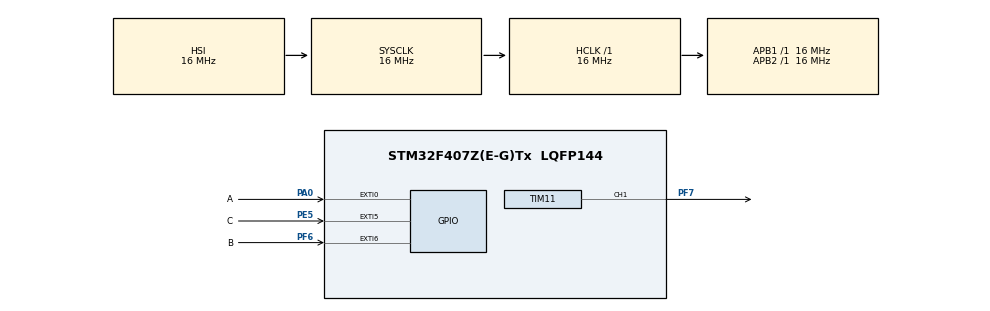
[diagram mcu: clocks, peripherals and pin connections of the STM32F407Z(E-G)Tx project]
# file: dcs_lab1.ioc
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Mcu.Family=STM32F4
Mcu.Name=STM32F407Z(E-G)Tx
Mcu.Package=LQFP144
NVIC.EXTI0_IRQn=true\:0\:0\:false\:false\:true\:true\:true\:true
NVIC.EXTI9_5_IRQn=true\:0\:0\:false\:false\:true\:true\:true\:true
NVIC.PriorityGroup=NVIC_PRIORITYGROUP_4
NVIC.TIM6_DAC_IRQn=true\:0\:0\:false\:false\:true\:true\:true\:true
NVIC.TIM7_IRQn=true\:0\:0\:false\:false\:true\:true\:true\:true
PA0-WKUP.GPIO_Label=A
PA0-WKUP.Signal=GPXTI0
PE5.GPIO_Label=C
PE5.Signal=GPXTI5
PF6.GPIO_Label=B
PF6.Signal=GPXTI6
PF7.Signal=S_TIM11_CH1
ProjectManager.HeapSize=0x200
ProjectManager.StackSize=0x400
ProjectManager.TargetToolchain=STM32CubeIDE
RCC.AHBFreq_Value=16000000
RCC.APB1Freq_Value=16000000
RCC.APB2Freq_Value=16000000
RCC.CortexFreq_Value=16000000
RCC.HSE_VALUE=25000000
RCC.HSI_VALUE=16000000
RCC.LSE_VALUE=32768
RCC.SYSCLKFreq_VALUE=16000000
RCC.VCOOutputFreq_Value=192000000
SH.S_TIM11_CH1.0=TIM11_CH1,PWM Generation1 CH1
TIM11.AutoReloadPreload=TIM_AUTORELOAD_PRELOAD_ENABLE
TIM11.Channel=TIM_CHANNEL_1
TIM11.Period=1059
TIM11.Prescaler=0
TIM6.Period=3999
TIM6.Prescaler=39
TIM6.TIM_MasterOutputTrigger=TIM_TRGO_UPDATE
TIM7.Period=15999
TIM7.Prescaler=99
VP_TIM11_VS_ClockSourceINT.Mode=Enable_Timer
VP_TIM6_VS_ClockSourceINT.Mode=Enable_Timer
VP_TIM7_VS_ClockSourceINT.Mode=Enable_Timer
board=custom

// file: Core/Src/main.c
/* USER CODE BEGIN Header */
/**
  ******************************************************************************
  * @file           : main.c
  * @brief          : Main program body
  ******************************************************************************
  * @attention
  *
  * Copyright (c) 2024 STMicroelectronics.
  * All rights reserved.
  *
  * This software is licensed under terms that can be found in the LICENSE file
  * in the root directory of this software component.
  * If no LICENSE file comes with this software, it is provided AS-IS.
  *
  ******************************************************************************
  */
/* USER CODE END Header */
#include "main.h"
#include "tim.h"
#include "gpio.h"

void SystemClock_Config(void);

/* USER CODE BEGIN 0 */
uint16_t counter = 0;
uint16_t counter_time = 0;
uint16_t counter_db = 0;
uint16_t v_db = 0;
uint16_t ccr_db = 0;
uint16_t speed=0;
uint16_t ccr_f = 0;
float kp=0;
int pre=0;
int ar=0;
int ta=0;
typedef enum{
	INIT = 0,
	IDLE,
	DB,
	DEL,
	K,
	END,
	T0,
	T
}
lock_state_t;
lock_state_t state = INIT;

typedef enum{
	OK = 0,
	ERR
} result_t;

result_t init(void)
{
	return OK;
}

result_t idle(void)
{
	return OK;
}

result_t db(void)
{
	if(counter_time == 0)
	{
		TIM11->CCR1 = TIM11->CCR1 + 100;
		return ERR;
	}
	else
	{
		ccr_db = TIM11->CCR1;
		v_db = counter_time;
		return OK;
	}
}

result_t del(void)
{
	return OK;
}

result_t k(void)
{
	return OK;
}
result_t t0(void)
{
	return OK;
}
result_t t(void)
{
	return OK;
}

int dir = 0;
/* USER CODE END 0 */

int main(void)
{

  /* MCU Configuration--------------------------------------------------------*/

  /* Reset of all peripherals, Initializes the Flash interface and the Systick. */
  HAL_Init();

  /* Configure the system clock */
  SystemClock_Config();

  /* Initialize all configured peripherals */
  MX_GPIO_Init();
  MX_TIM6_Init();
  MX_TIM11_Init();
  MX_TIM7_Init();
  /* USER CODE BEGIN 2 */
  HAL_TIM_Base_Start_IT(&htim6);
  HAL_TIM_PWM_Start(&htim11,TIM_CHANNEL_1);
  TIM11->CCR1 = 10;

  HAL_TIM_Base_Start_IT(&htim7);
  /* USER CODE END 2 */

  /* Infinite loop */
  while (1)
  {

    /* USER CODE BEGIN 3 */
	  switch(state)
	 	  {
	 	  	  case INIT:
	 	  		  if(init() == OK)
	 	  		  {
	 	  			  state = IDLE;
	 	  		  }
	 	  		  break;
	 	  	  case IDLE:
	 	  		  if(idle() == OK)
	 	  		  {
	 	  			  state = DB;
	 	  		  }
	 	  		  break;
	 	  	  case DB:
	 	  		  break;
	 	  	  case DEL:
	 	  		TIM11->CCR1 = TIM11->CCR1 + 50;
	 	  		  	HAL_Delay(3000);
	 	  			TIM11->CCR1 = TIM11->CCR1 + 250;
	 	  			state = K;
	 	  		  break;
	 	  	  case K:
	 	  		  break;
	 	  	  case T0:
	 	  		  TIM11->CCR1 = ccr_db;
	 	  		  HAL_Delay(3000);
	 	  		  TIM11->CCR1 = ccr_f;
	 	  		  state = T;
	 	  		  break;
	 	  	  case T:
	 	  		  break;
	 	  	  case END:

	 	  		  break;

	 	  }
  }
  /* USER CODE END 3 */
}

void SystemClock_Config(void)
{
  RCC_OscInitTypeDef RCC_OscInitStruct = {0};
  RCC_ClkInitTypeDef RCC_ClkInitStruct = {0};

  /** Configure the main internal regulator output voltage
  */
  __HAL_RCC_PWR_CLK_ENABLE();
  __HAL_PWR_VOLTAGESCALING_CONFIG(PWR_REGULATOR_VOLTAGE_SCALE1);

  /** Initializes the RCC Oscillators according to the specified parameters
  * in the RCC_OscInitTypeDef structure.
  */
  RCC_OscInitStruct.OscillatorType = RCC_OSCILLATORTYPE_HSI;
  RCC_OscInitStruct.HSIState = RCC_HSI_ON;
  RCC_OscInitStruct.HSICalibrationValue = RCC_HSICALIBRATION_DEFAULT;
  RCC_OscInitStruct.PLL.PLLState = RCC_PLL_NONE;
  if (HAL_RCC_OscConfig(&RCC_OscInitStruct) != HAL_OK)
  {
    Error_Handler();
  }

  /** Initializes the CPU, AHB and APB buses clocks
  */
  RCC_ClkInitStruct.ClockType = RCC_CLOCKTYPE_HCLK|RCC_CLOCKTYPE_SYSCLK
                              |RCC_CLOCKTYPE_PCLK1|RCC_CLOCKTYPE_PCLK2;
  RCC_ClkInitStruct.SYSCLKSource = RCC_SYSCLKSOURCE_HSI;
  RCC_ClkInitStruct.AHBCLKDivider = RCC_SYSCLK_DIV1;
  RCC_ClkInitStruct.APB1CLKDivider = RCC_HCLK_DIV1;
  RCC_ClkInitStruct.APB2CLKDivider = RCC_HCLK_DIV1;

  if (HAL_RCC_ClockConfig(&RCC_ClkInitStruct, FLASH_LATENCY_0) != HAL_OK)
  {
    Error_Handler();
  }
}

/* USER CODE BEGIN 4 */
void HAL_GPIO_EXTI_Callback(uint16_t GPIO_Pin){
	if (GPIO_Pin == A_Pin){
		counter++;
		dir = HAL_GPIO_ReadPin(B_GPIO_Port,B_Pin);
	}
}

void HAL_TIM_PeriodElapsedCallback(TIM_HandleTypeDef *htim){
	if (htim->Instance == TIM6)
	{
	counter_time = (counter*60*100)/1024;
		// counter_time=counter;
		counter=0;

		if (state == T0)
			{
				ta = 0;
			}
			if (state == T)
			{
				if ((counter_time-v_db)<0.63*(speed-v_db))
				{
					ta++;
				}

			}
	}

	if(htim->Instance == TIM7)
	{

		if(state == DB)
		{
			if(db() == OK)
			{
				state = DEL;

			}
		}
		if (state == K)
		{
			if (counter_time-pre<20){
				ccr_f = TIM11->CCR1;
				speed = counter_time;
	 	  		kp = speed - v_db;
	 	  		ar = TIM11->ARR;
	 	  		kp = kp / (((ccr_f - ccr_db )*12)/ar);
				state = T0;
			} else {
			pre = counter_time;
			}
		}

	}
}
/* USER CODE END 4 */

void Error_Handler(void)
{
  __disable_irq();
  while (1)
  {
  }
}
